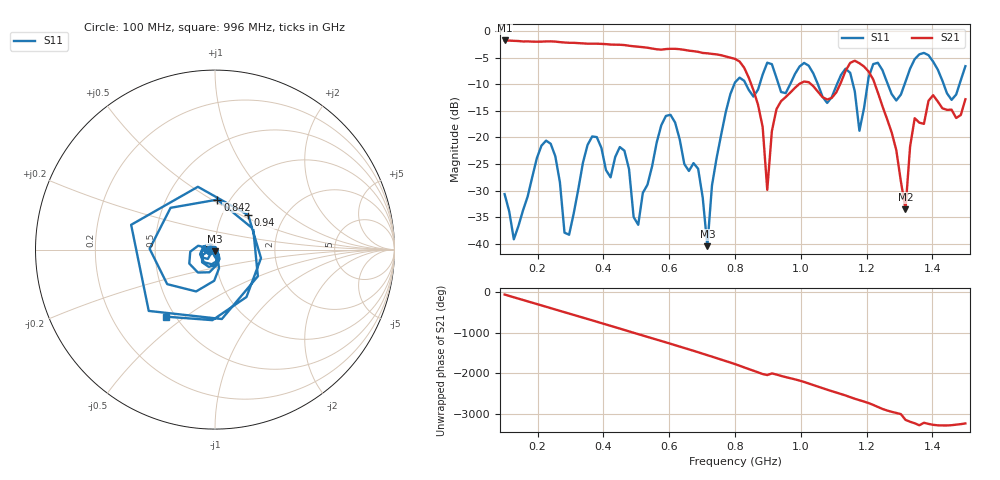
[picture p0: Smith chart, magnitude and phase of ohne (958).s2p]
! NanoVNA-App
! Date: 2025-09-25 14:28:15
! Start: 100MHz Stop: 1,5GHz Points: 101
! S-Parameter data: F S11 S21 S12 S22
# Hz S RI R 50
!  Frequency  S11_Real  S11_Imag  S21_Real  S21_Imag  S12_Real  S12_Imag  S22_Real  S22_Imag
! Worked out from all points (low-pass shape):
!   101 points, 100 MHz to 1.5 GHz, reference 50 ohm
!   highest |S21| = -1.79 dB at 100 MHz (marker M1); lowest = -33.5 dB at 1.318 GHz (marker M2)
!   |S21| within 3 dB of the highest: start of sweep to 771.7 MHz
!   lowest |S11| = -40.4 dB at 716 MHz (marker M3), VSWR 1.02, Z = 49.7 - j0.912 ohm
!   |S11| at or under -10 dB: start of sweep to 797.9 MHz; 833.1 MHz to 875.1 MHz (41.98 MHz wide, 4.92 % of centre); 1.052 GHz to 1.11 GHz (58.23 MHz wide, 5.39 % of centre) (the widest 3 of 7)
!   S12 and S22 are empty: the file has one direction only
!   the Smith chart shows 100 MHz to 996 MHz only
!   S11 on the Smith chart (normalised r, x): 100 MHz: 0.94, -0.01; 842 MHz: 0.88, +0.53; 940 MHz: 1.32, +0.55; 996 MHz: 0.45, -0.42
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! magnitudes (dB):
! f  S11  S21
! 100 MHz  -30.6  -1.8
! 128 MHz  -39.1  -1.9
! 226 MHz  -20.6  -2.0
! 296 MHz  -38.3  -2.2
! 338 MHz  -24.7  -2.3
! 464 MHz  -22.5  -2.7
! 506 MHz  -36.4  -3.0
! 576 MHz  -17.7  -3.5
! 688 MHz  -25.9  -3.9
! 716 MHz  -40.4  -4.2
! 800 MHz  -9.7  -5.3
! 842 MHz  -11.1  -8.8
! 898 MHz  -6.0  -29.8
! 940 MHz  -11.5  -13.2
! 996 MHz  -6.7  -9.9
! 1.038 GHz  -8.0  -10.4
! 1.178 GHz  -18.7  -6.1
! 1.22 GHz  -6.2  -9.1
! 1.276 GHz  -11.9  -19.1
! 1.318 GHz  -9.5  -33.5
! 1.346 GHz  -5.3  -16.4
! 1.5 GHz  -6.6  -12.8
